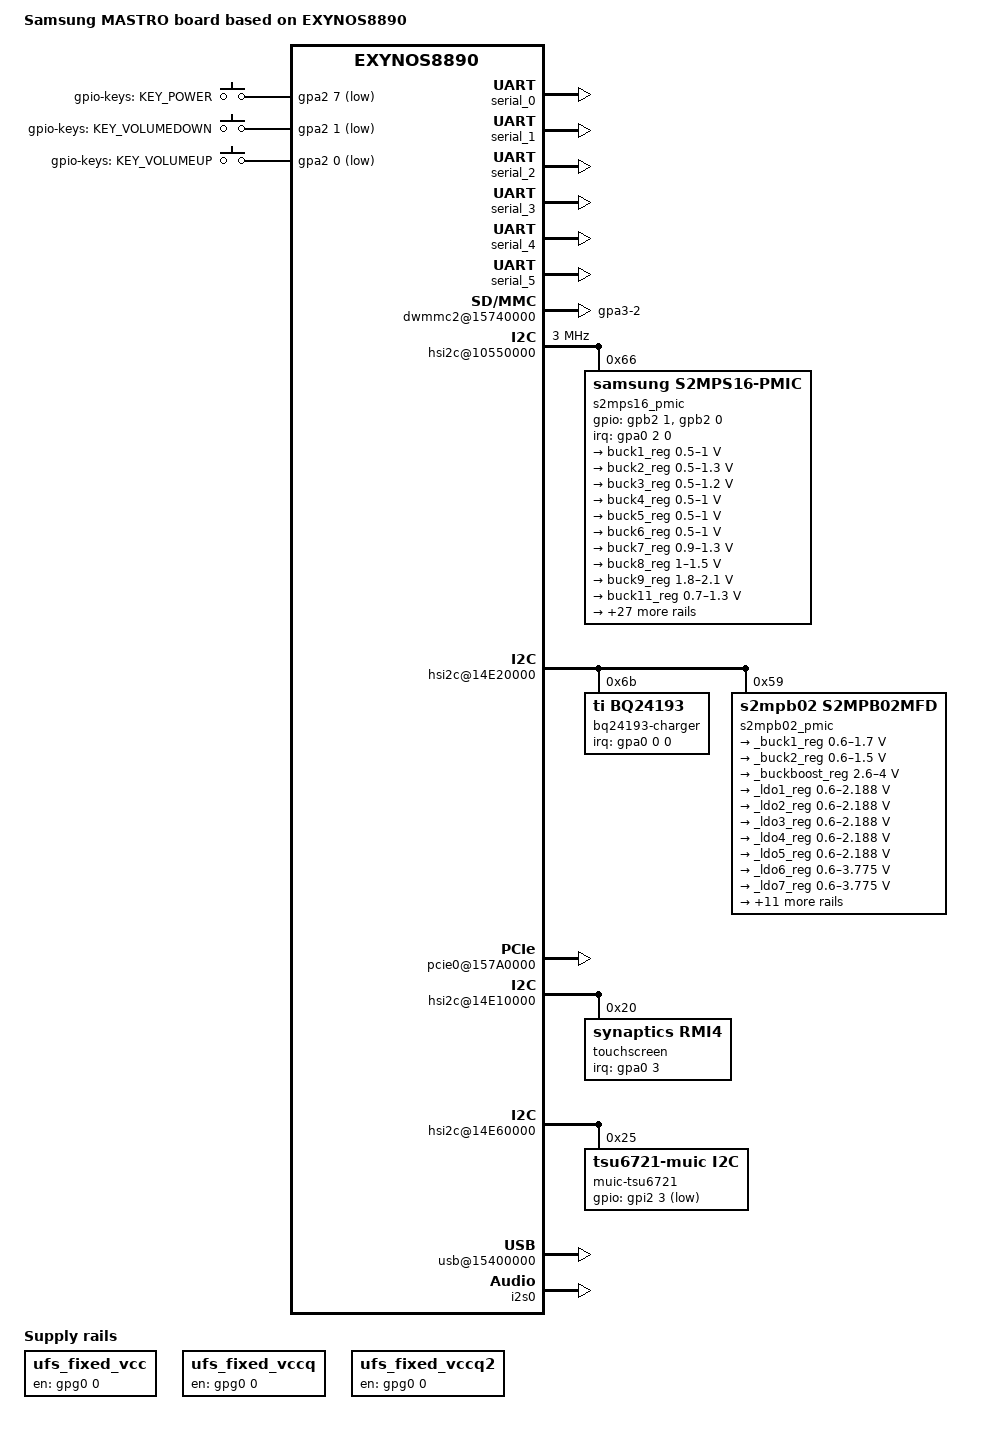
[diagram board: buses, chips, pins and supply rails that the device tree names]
/*
 * SAMSUNG EXYNOS8890 board device tree source
 *
 * Copyright (c) 2016 Samsung Electronics Co., Ltd.
 *		http://www.samsung.com
 *
 * This program is free software; you can redistribute it and/or modify
 * it under the terms of the GNU General Public License version 2 as
 * published by the Free Software Foundation.
*/

/dts-v1/;
#include "exynos8890.dtsi"
#include "exynos8890-rmem.dtsi"
#include "exynos8890-display-lcd.dtsi"
#include "exynos8890-modem-sh340ap.dtsi"

/ {
	model = "Samsung MASTRO board based on EXYNOS8890";
	compatible = "samsung,exynos8890", "samsung,MAESTRO";

	ect {
		parameter_address = <0x90000000>;
		parameter_size = <0x19000>;
	};

	memory@80000000 {
		device_type = "memory";
		reg = <0x0 0x80000000 0x80000000>;
	};

	memory@880000000 {
		device_type = "memory";
		reg = <0x00000008 0x80000000 0x80000000>;
	};

	chosen {
		bootargs = "console=ttySAC2,115200 clk_ignore_unused pmic_info=3 androidboot.hardware=samsungexynos8890 androidboot.selinux=permissive ess_setup=0x86000000 firmware_class.path=/vendor/firmware";
		linux,initrd-start = <0x82000000>;
		linux,initrd-end = <0x820FFFFF>;
	};

	fixed-rate-clocks {
		oscclk {
			compatible = "samsung,exynos8890-oscclk";
			clock-frequency = <26000000>;
		};
	};

	serial_0: uart@13630000 {
		status = "okay";
	};

	serial_1: uart@14C20000 {
		status = "okay";
	};

	serial_2: uart@14C30000 {
		status = "okay";
	};

	serial_3: uart@14C40000 {
		status = "okay";
	};

	serial_4: uart@14C50000 {
		status = "okay";
	};

	serial_5: uart@14C10000 {
		status = "okay";
	};

	ufs@0x155A0000 {
		status = "okay";
		ufs,pmd-attr-mode = "FAST";
		ufs,pmd-attr-lane = /bits/ 8 <1>;
		ufs,pmd-attr-gear = /bits/ 8 <3>;
		ufs,pmd-attr-hs-series = "HS_rate_b";
		ufs-opts-skip-connection-estab;
		ufs-opts-use-seperated-pclk;
		ufs-rx-adv-fine-gran-sup_en = <0>;
		ufs-rx-min-activate-time-cap = <3>;
		ufs-rx-hibern8-time-cap = <2>;
		ufs-tx-hibern8-time-cap = <2>;
		ufs-wait-cdr-lock = <0x6e>;

		vcc-supply = <&ufs_fixed_vcc>;
		vccq-supply = <&ufs_fixed_vccq>;
		vccq2-supply = <&ufs_fixed_vccq2>;
		vcc-fixed-regulator;
		vccq-fixed-regulator;
		vccq2-fixed-regulator;

		ufs-cap-clk-gating;
		ufs-cap-hibern8-with-clk-gating;

		phy-init =
			<0x9564 0x2e030103 PMD_ALL UNIPRO_DBG_MIB>,	// PA_DBG_OPTION_SUITE
			<0x155E 0x0 PMD_ALL UNIPRO_STD_MIB>,
			<0x00f 0xfa PMD_ALL PHY_PMA_COMN>,
			<0x010 0x82 PMD_ALL PHY_PMA_COMN>,
			<0x011 0x1e PMD_ALL PHY_PMA_COMN>,
			<0x012 0x80 PMD_ALL PHY_PMA_COMN>,
			<0x017 0x94 PMD_ALL PHY_PMA_COMN>,
			<0x034 0x31 PMD_ALL PHY_PMA_TRSV>,
			<0x035 0x40 PMD_ALL PHY_PMA_TRSV>,
			<0x038 0x3f PMD_ALL PHY_PMA_TRSV>,
			<0x049 0x00 PMD_ALL PHY_PMA_TRSV>,
			<0x04a 0x10 PMD_ALL PHY_PMA_TRSV>,
			<0x04c 0x5b PMD_ALL PHY_PMA_TRSV>,
			<0x05c 0x14 PMD_ALL PHY_PMA_TRSV>,
			<0x9540 true PMD_ALL PHY_PCS_COMN>,		// PA_DBG_OV_TM
			<0x401 0x09 PMD_ALL PHY_PCS_COMN>,
			<0x27a 0x10 PMD_ALL PHY_PCS_RXTX>,
			<0x30e 0x01 PMD_ALL PHY_PCS_RXTX>,
			<0x31f 0x04 PMD_ALL PHY_PCS_RXTX>,
			<0x32c 0x00 PMD_ALL PHY_PCS_RXTX>,
			<0x9540 false PMD_ALL PHY_PCS_COMN>,		// PA_DBG_OV_TM
			<0 0 0 0>;

		post-phy-init =
			<0x9529 0x1 PMD_ALL UNIPRO_DBG_MIB>,		// PA_DBG_MODE
			<PA_SAVECONFIGTIME 0x7d0 PMD_ALL UNIPRO_STD_MIB>,
			<0x9529 0x0 PMD_ALL UNIPRO_DBG_MIB>,		// PA_DBG_MODE
			<0 0 0 0>;

		calib-of-pwm =
			<0x9540 true PMD_ALL PHY_PCS_COMN>,		// PA_DBG_OV_TM
			<0x337 0x21 PMD_PWM PHY_PCS_RXTX>,
			<0x9540 false PMD_ALL PHY_PCS_COMN>,		// PA_DBG_OV_TM
			<0 0 0 0>;

		calib-of-hs-rate-a =
			<0x034 0x32 PMD_HS_G3_L1 PHY_PMA_TRSV>,
			<0x035 0x40 (PMD_HS_G1_L1 | PMD_HS_G2_L1) PHY_PMA_TRSV>,
			<0x035 0x42 PMD_HS_G3_L1 PHY_PMA_TRSV>,
			<0x037 0x43 PMD_HS_G3_L1 PHY_PMA_TRSV>,
			<0x41a 0x01 PMD_HS_G3_L1 PHY_PCS_COMN>,
			<0 0 0 0>;

		calib-of-hs-rate-b =
			<0x034 0x32 PMD_HS_G3_L1 PHY_PMA_TRSV>,
			<0x035 0x40 (PMD_HS_G1_L1 | PMD_HS_G2_L1) PHY_PMA_TRSV>,
			<0x035 0x42 PMD_HS_G3_L1 PHY_PMA_TRSV>,
			<0x037 0x43 PMD_HS_G3_L1 PHY_PMA_TRSV>,
			<0x41a 0x01 PMD_HS_G3_L1 PHY_PCS_COMN>,
			<0 0 0 0>;

		post-calib-of-pwm =
			<0x015 0x00 PMD_PWM PHY_PMA_COMN>,
			<0x41a 0x00 PMD_PWM PHY_PCS_COMN>,
			<0 0 0 0>;

		post-calib-of-hs-rate-a =
			<0x049 0x02 (PMD_HS_G2_L1 | PMD_HS_G3_L1) PHY_PMA_TRSV>,
			<0x04a 0x37 (PMD_HS_G2_L1 | PMD_HS_G3_L1) PHY_PMA_TRSV>,
			<0 0 0 0>;

		post-calib-of-hs-rate-b =
			<0x049 0x02 (PMD_HS_G2_L1 | PMD_HS_G3_L1) PHY_PMA_TRSV>,
			<0x04a 0x37 (PMD_HS_G2_L1 | PMD_HS_G3_L1) PHY_PMA_TRSV>,
			<0 0 0 0>;

		pma-restore =
			<0x00f 0xfa PMD_ALL PHY_PMA_COMN>,
			<0x010 0x82 PMD_ALL PHY_PMA_COMN>,
			<0x011 0x1e PMD_ALL PHY_PMA_COMN>,
			<0x012 0x80 PMD_ALL PHY_PMA_COMN>,
			<0x017 0x94 PMD_ALL PHY_PMA_COMN>,
			<0x034 0x31 (PMD_PWM |(PMD_HS_G1_L1 | PMD_HS_G2_L1)) PHY_PMA_TRSV>,
			<0x034 0x32 PMD_HS_G3_L1 PHY_PMA_TRSV>,
			<0x035 0x40 PMD_PWM PHY_PMA_TRSV>,
			<0x035 0x40 (PMD_HS_G1_L1 | PMD_HS_G2_L1) PHY_PMA_TRSV>,
			<0x035 0x42 PMD_HS_G3_L1 PHY_PMA_TRSV>,
			<0x037 0x43 PMD_HS_G3_L1 PHY_PMA_TRSV>,
			<0x038 0x3f PMD_ALL PHY_PMA_TRSV>,
			<0x049 0x00 PMD_PWM PHY_PMA_TRSV>,
			<0x04a 0x10 PMD_PWM PHY_PMA_TRSV>,
			<0x049 0x02 PMD_HS PHY_PMA_TRSV>,
			<0x04a 0x37 PMD_HS PHY_PMA_TRSV>,
			<0x04c 0x5b PMD_HS PHY_PMA_TRSV>,
			<0x05c 0x14 PMD_HS PHY_PMA_TRSV>,
			<0 0 0 0>;
	};

	ufs_fixed_vcc: fixedregulator@0 {
		       compatible = "regulator-fixed";
		       regulator-name = "ufs-vcc";
		       gpio = <&gpg0 0 0>;
		       regulator-boot-on;
		       enable-active-high;
	};

	ufs_fixed_vccq: fixedregulator@1 {
			compatible = "regulator-fixed";
			regulator-name = "ufs-vccq";
			gpio = <&gpg0 0 0>;
			regulator-boot-on;
			enable-active-high;
	};

	ufs_fixed_vccq2: fixedregulator@2 {
			 compatible = "regulator-fixed";
			 regulator-name = "ufs-vccq2";
			 gpio = <&gpg0 0 0>;
			 regulator-boot-on;
			 enable-active-high;
			 startup-delay-us = <2000>;
			 endup-delay-us = <2000>;
	};

	pinctrl@10580000 {
		dwmmc2_cd_ext_irq: dwmmc2_cd_ext_irq {
			   samsung,pins = "gpa3-2";
			   samsung,pin-function = <0xf>;
			   samsung,pin-pud = <3>;
			   samsung,pin-drv = <4>;
		};

	};

	dwmmc2@15740000 {
		status = "okay";
		num-slots = <1>;
		card-detect-gpio;
		supports-4bit;
		supports-cmd23;
		supports-erase;
		supports-highspeed;
		sd-uhs-sdr104;
		bypass-for-allpass;
		use-fine-tuning;
		card-init-hwacg-ctrl;
		samsung,voltage-int-extra = <0x7>;
		fifo-depth = <0x40>;
		qos_int_level = <255000>;
		samsung,dw-mshc-ciu-div = <3>;
		desc-size = <4>;
		card-detect-delay = <200>;
		data-timeout = <200>;
		hto-timeout = <550>;
		clock-frequency = <800000000>;
		samsung,dw-mshc-sdr-timing = <3 0 2 0>;
		samsung,dw-mshc-ddr-timing = <3 0 2 1>;

		num-ref-clks = <8>;
		ciu_clkin = <25 50 50 100 200 100 200 200>;

		/* Swapping clock drive strength */
		clk-drive-number = <4>;
		pinctrl-names = "default",
			"fast-slew-rate-1x",
			"fast-slew-rate-2x",
			"fast-slew-rate-3x",
			"fast-slew-rate-4x";
		pinctrl-0 = <&sd2_clk &sd2_cmd &sd2_bus1 &sd2_bus4 &dwmmc2_cd_ext_irq>;
		pinctrl-1 = <&sd2_clk_fast_slew_rate_1x>;
		pinctrl-2 = <&sd2_clk_fast_slew_rate_2x>;
		pinctrl-3 = <&sd2_clk_fast_slew_rate_3x>;
		pinctrl-4 = <&sd2_clk_fast_slew_rate_4x>;

		card-detect = <&gpa3 2 0xf>;
		slot@0 {
			reg = <0>;
			bus-width = <4>;
			disable-wp;
		};
	};

        pinctrl@10580000 {
                key_power: key-power {
                        samsung,pins = "gpa2-7";
                        samsung,pin-function = <0xf>;
                        samsung,pin-pud = <0>;
                        samsung,pin-drv = <0>;
                };

                key_voldown: key-voldown {
                        samsung,pins = "gpa2-1";
                        samsung,pin-function = <0xf>;
                        samsung,pin-pud = <0>;
                        samsung,pin-drv = <0>;
                };

                key_volup: key-volup {
                        samsung,pins = "gpa2-0";
                        samsung,pin-function = <0xf>;
                        samsung,pin-pud = <0>;
                        samsung,pin-drv = <0>;
                };
        };

        gpio_keys {
                compatible = "gpio-keys";
                pinctrl-names = "default";
                pinctrl-0 = <&key_power &key_voldown &key_volup>;
                button@1 {
                        label = "gpio-keys: KEY_POWER";
                        linux,code = <116>;
                        gpios = <&gpa2 7 0xf>;
                        gpio-key,wakeup = <1>;
                };
                button@2 {
                        label = "gpio-keys: KEY_VOLUMEDOWN";
                        linux,code = <114>;
                        gpios = <&gpa2 1 0xf>;
                };
                button@3 {
                        label = "gpio-keys: KEY_VOLUMEUP";
                        linux,code = <115>;
                        gpios = <&gpa2 0 0xf>;
                };
        };

	pinctrl@10580000 {
		pmic_irq: pmic-irq {
			samsung,pins = "gpa0-2";
			samsung,pin-pud = <3>;
			samsung,pin-drv = <3>;
		};

		chg_irq: chg-irq {
			samsung,pins = "gpa0-0";
			samsung,pin-function = <0>;
			samsung,pin-pud = <3>;
			samsung,pin-drv = <3>;
		};
		muic_irq: muic-irq {
			samsung,pins = "gpa1-1";
			samsung,pin-function = <0x0>;
			samsung,pin-pud = <0>;
			samsung,pin-drv = <0>;
		};
	};

	pinctrl@14CC0000 {
		/* Warm reset information from AP */
		pm_wrsti: pm-wrsti {
			samsung,pins = "gpe6-7";
			samsung,pin-con-pdn = <3>;
		};
	};

	pinctrl@136D0000 {
		g3d_dvs: g3d-dvs {
			samsung,pins = "gpb2-0";
			samsung,pin-function = <0x2>;
		};
	};

	hsi2c@10550000{
		status = "okay";
		samsung,hs-mode;
		clock-frequency = <3000000>;
		samsung,hsi2c-batcher;
		samsung,use-apm;
		samsung,apm-always-clkon;
		s2mps16_pmic@66 {
			compatible = "samsung,s2mps16-pmic";
			reg = <0x66>;
			interrupts = <2 0 0>;
			interrupt-parent = <&gpa0>;
			pinctrl-names = "default";
			ten-bit-address;
			pinctrl-0 = <&pmic_irq &pm_wrsti &g3d_dvs>;
			gpios = <&gpb2 1 0>, <&gpb2 0 0x2>;
			smpl_warn_en = <1>; /* 1 : enable , 0 : disable*/
			/* range of smpl_warn_vth */
			/* 0x00 : 2.1V, 0x20 : 2.3V, 0x40 : 2.5V, 0x60 : 2.7V 0x80 : 2.9V */
			/* 0xA0 : 3.1V, 0xC0 : 3.3V, 0xE0 : 3.5V */
			smpl_warn_vth = <0x80>;
			/* LowBat_Hys[4:3] 00(100mV), 01(200mV), 10(300mV), 11(400mV) */
			smpl_warn_hys = <0x00>;
			adc-on;
			cache_data = <1>; /* 1: enable, 0 : disable */
			g3d_en = <1>; /* 1 : enable , 0 : disable */
			dvs_en = <1>; /* 1 : enable , 0 : disable */
			ldo8_7_seq = <0x05>;
			ldo10_9_seq = <0x63>;
			/* RTC: wtsr/smpl */
			wtsr_en = <1>; /* enable */
			smpl_en = <1>; /* enable */
			wtsr_timer_val = <3>;	/* 1000ms */
			smpl_timer_val = <4>;	/* 500ms */
			check_jigon = <0>; /* do not check jigon */
			/* RTC: If it's first boot, reset rtc to 1/1/2014 12:00:00(Wed) */
			init_time,sec = <0>;
			init_time,min = <0>;
			init_time,hour = <12>;
			init_time,mday = <1>;
			init_time,mon = <0>;
			init_time,year = <115>;
			init_time,wday = <4>;

			regulators {
				buck1_reg: BUCK1 {
					regulator-name = "vdd_mif";
					regulator-min-microvolt = <500000>;
					regulator-max-microvolt = <1000000>;
					regulator-always-on;
					regulator-ramp-delay = <12000>;
					regulator-initial-mode = <2>; /* controlled by PWREN_MIF */
				};

				buck2_reg: BUCK2 {
					regulator-name = "vdd_mngs";
					regulator-min-microvolt = <500000>;
					regulator-max-microvolt = <1300000>;
					regulator-always-on;
					regulator-ramp-delay = <11000>;
					regulator-initial-mode = <1>;
				};

				buck3_reg: BUCK3 {
					regulator-name = "vdd_apollo";
					regulator-min-microvolt = <500000>;
					regulator-max-microvolt = <1200000>;
					regulator-always-on;
					regulator-ramp-delay = <11000>;
					regulator-initial-mode = <1>;
				};

				buck4_reg: BUCK4 {
					regulator-name = "vdd_int";
					regulator-min-microvolt = <500000>;
					regulator-max-microvolt = <1000000>;
					regulator-always-on;
					regulator-ramp-delay = <12000>;
					regulator-initial-mode = <2>; /* controlled by PWREN_MIF */
				};

				buck5_reg: BUCK5 {
					regulator-name = "vdd_dispcam";
					regulator-min-microvolt = <500000>;
					regulator-max-microvolt = <1000000>;
					regulator-always-on;
					regulator-ramp-delay = <11000>;
					regulator-initial-mode = <2>; /* controlled by PWREN_MIF */
				};

				buck6_reg: BUCK6 {
					regulator-name = "vdd_g3d";
					regulator-min-microvolt = <500000>;
					regulator-max-microvolt = <1000000>;
					regulator-always-on;
					regulator-ramp-delay = <12000>;
					regulator-initial-mode = <1>;
				};

				buck7_reg: BUCK7 {
					regulator-name = "vdd_mem";
					regulator-min-microvolt = <900000>;
					regulator-max-microvolt = <1300000>;
					regulator-always-on;
					regulator-ramp-delay = <12000>;
					regulator-initial-mode = <3>;
				};

				buck8_reg: BUCK8 {
					regulator-name = "vdd_lldo";
					regulator-min-microvolt = <1000000>;
					regulator-max-microvolt = <1500000>;
					regulator-always-on;
					regulator-ramp-delay = <12000>;
					regulator-initial-mode = <3>;
				};

				buck9_reg: BUCK9 {
					regulator-name = "vdd_mldo";
					regulator-min-microvolt = <1800000>;
					regulator-max-microvolt = <2100000>;
					regulator-always-on;
					regulator-ramp-delay = <12000>;
					regulator-initial-mode = <3>;
				};

				buck11_reg: BUCK11 {
					regulator-name = "vdd_extra";
					regulator-min-microvolt = <700000>;
					regulator-max-microvolt = <1300000>;
					regulator-always-on;
					regulator-ramp-delay = <12000>;
					regulator-initial-mode = <1>;
				};

				ldo1_reg: LDO1 {
					regulator-name = "vdd_ldo1";
					regulator-min-microvolt = <500000>;
					regulator-max-microvolt = <900000>;
					regulator-ramp-delay = <12000>;
					regulator-initial-mode = <3>;
					regulator-always-on;
				};

				ldo2_reg: LDO2 {
					regulator-name = "vqmmc";
					regulator-min-microvolt = <1800000>;
					regulator-max-microvolt = <2800000>;
					regulator-ramp-delay = <12000>;
					regulator-initial-mode = <1>;
					regulator-always-on;
				};

				ldo3_reg: LDO3 {
					regulator-name = "vdd_ldo3";
					regulator-min-microvolt = <1620000>;
					regulator-max-microvolt = <1980000>;
					regulator-ramp-delay = <12000>;
					regulator-initial-mode = <3>;
					regulator-always-on;
				};

				ldo4_reg: LDO4 {
					regulator-name = "vdd_ldo4";
					regulator-min-microvolt = <800000>;
					regulator-max-microvolt = <1110000>;
					regulator-ramp-delay = <12000>;
					regulator-initial-mode = <1>;
					regulator-always-on;
				};

				ldo5_reg: LDO5 {
					regulator-name = "vdd_ldo5";
					regulator-min-microvolt = <1625000>;
					regulator-max-microvolt = <1975000>;
					regulator-ramp-delay = <12000>;
					regulator-always-on;
					regulator-initial-mode = <1>;
				};

				ldo6_reg: LDO6 {
					regulator-name = "vdd_ldo6";
					regulator-min-microvolt = <2250000>;
					regulator-max-microvolt = <3300000>;
					regulator-ramp-delay = <12000>;
					regulator-always-on;
					regulator-initial-mode = <1>;
				};

				ldo7_reg: LDO7 {
					regulator-name = "vdd_ldo7";
					regulator-min-microvolt = <700000>;
					regulator-max-microvolt = <1200000>;
					regulator-ramp-delay = <12000>;
					regulator-always-on;
					regulator-initial-mode = <1>;
				};

				ldo8_reg: LDO8 {
					regulator-name = "vdd_ldo8";
					regulator-min-microvolt = <700000>;
					regulator-max-microvolt = <1000000>;
					regulator-ramp-delay = <12000>;
					regulator-always-on;
					regulator-initial-mode = <1>;
				};

				ldo9_reg: LDO9 {
					regulator-name = "vdd_ldo9";
					regulator-min-microvolt = <700000>;
					regulator-max-microvolt = <1000000>;
					regulator-ramp-delay = <12000>;
					regulator-always-on;
					regulator-initial-mode = <1>;
				};

				ldo10_reg: LDO10 {
					regulator-name = "vdd_ldo10";
					regulator-min-microvolt = <700000>;
					regulator-max-microvolt = <1200000>;
					regulator-ramp-delay = <12000>;
					regulator-always-on;
					regulator-initial-mode = <1>;
				};

				ldo11_reg: LDO11 {
					regulator-name = "vdd_ldo11";
					regulator-min-microvolt = <700000>;
					regulator-max-microvolt = <1000000>;
					regulator-ramp-delay = <12000>;
					regulator-always-on;
					regulator-initial-mode = <1>;
				};

				ldo12_reg: LDO12 {
					regulator-name = "vdd_ldo12";
					regulator-min-microvolt = <1000000>;
					regulator-max-microvolt = <1300000>;
					regulator-ramp-delay = <12000>;
					regulator-always-on;
					regulator-initial-mode = <1>;
				};

				ldo13_reg: LDO13 {
					regulator-name = "vdd_ldo13";
					regulator-min-microvolt = <1000000>;
					regulator-max-microvolt = <1300000>;
					regulator-ramp-delay = <12000>;
					regulator-always-on;
					regulator-initial-mode = <1>;
				};

				ldo25_reg: LDO25 {
					regulator-name = "vdd_ldo25";
					regulator-min-microvolt = <700000>;
					regulator-max-microvolt = <1000000>;
					regulator-ramp-delay = <12000>;
					regulator-boot-on;
					regulator-always-on;
					regulator-initial-mode = <1>;
				};

				ldo26_reg: LDO26 {
					regulator-name = "vdd_ldo26";
					regulator-min-microvolt = <1000000>;
					regulator-max-microvolt = <1200000>;
					regulator-ramp-delay = <12000>;
					regulator-boot-on;
					regulator-always-on;
					regulator-initial-mode = <1>;
				};

				ldo27_reg: LDO27 {
					regulator-name = "vdd_ldo27";
					regulator-min-microvolt = <700000>;
					regulator-max-microvolt = <1300000>;
					regulator-ramp-delay = <12000>;
					regulator-boot-on;
					regulator-always-on;
					regulator-initial-mode = <1>;
				};

				ldo28_reg: LDO28 {
					regulator-name = "vdd_ldo28";
					regulator-min-microvolt = <1800000>;
					regulator-max-microvolt = <3375000>;
					regulator-ramp-delay = <12000>;
					regulator-always-on;
					regulator-initial-mode = <1>;
				};

				ldo29_reg: LDO29 {
					regulator-name = "vdd_ldo29";
					regulator-min-microvolt = <1800000>;
					regulator-max-microvolt = <3375000>;
					regulator-ramp-delay = <12000>;
					regulator-always-on;
					regulator-initial-mode = <1>;
				};

				ldo30_reg: LDO30 {
					regulator-name = "vdd_ldo30";
					regulator-min-microvolt = <1800000>;
					regulator-max-microvolt = <3375000>;
					regulator-ramp-delay = <12000>;
					regulator-always-on;
					regulator-initial-mode = <3>;
				};

				ldo31_reg: LDO31 {
					regulator-name = "vdd_ldo31";
					regulator-min-microvolt = <700000>;
					regulator-max-microvolt = <1300000>;
					regulator-ramp-delay = <12000>;
					regulator-always-on;
					regulator-initial-mode = <1>;
				};

				ldo32_reg: LDO32 {
					regulator-name = "vdd_ldo32";
					regulator-min-microvolt = <1500000>;
					regulator-max-microvolt = <2100000>;
					regulator-ramp-delay = <12000>;
					regulator-initial-mode = <0>;
				};

				ldo33_reg: LDO33 {
					regulator-name = "vdd_ldo33";
					regulator-min-microvolt = <1800000>;
					regulator-max-microvolt = <3375000>;
					regulator-ramp-delay = <12000>;
					regulator-initial-mode = <0>;
				};

				ldo34_reg: LDO34 {
					regulator-name = "vdd_ldo34";
					regulator-min-microvolt = <1800000>;
					regulator-max-microvolt = <3375000>;
					regulator-ramp-delay = <12000>;
					regulator-always-on;
					regulator-initial-mode = <1>;
				};

				ldo35_reg: LDO35 {
					regulator-name = "vdd_ldo35";
					regulator-min-microvolt = <1800000>;
					regulator-max-microvolt = <3375000>;
					regulator-ramp-delay = <12000>;
					regulator-always-on;
					regulator-initial-mode = <1>;
				};

				ldo36_reg: LDO36 {
					regulator-name = "vdd_ldo36";
					regulator-min-microvolt = <1800000>;
					regulator-max-microvolt = <3375000>;
					regulator-ramp-delay = <12000>;
					regulator-always-on;
					regulator-initial-mode = <1>;
				};

				ldo37_reg: LDO37 {
					regulator-name = "vdd_ldo37";
					regulator-min-microvolt = <1500000>;
					regulator-max-microvolt = <2100000>;
					regulator-ramp-delay = <12000>;
					regulator-always-on;
					regulator-initial-mode = <1>;
				};

				ldo38_reg: LDO38 {
					regulator-name = "vdd_ldo38";
					regulator-min-microvolt = <700000>;
					regulator-max-microvolt = <1300000>;
					regulator-ramp-delay = <12000>;
					regulator-always-on;
					regulator-initial-mode = <1>;
				};
			};
		};
	};

	pinctrl@10580000 {
		sub_pmic_irq: sub-pmic-irq {
			samsung,pins = "gpa3-7";
			samsung,pin-function = <0>;
			samsung,pin-pud = <0>;
			samsung,pin-drv = <0>;
		};
	};

	hsi2c@14E20000 {
		status = "okay";
		bq24193-charger@6b {
			compatible = "ti,bq24193";
			reg = <0x6b>;
			interrupts = <0 0 0>;
			interrupt-parent = <&gpa0>;
			pinctrl-names = "default";
			pinctrl-3 = <&chg_irq>;
			dev_name = "bq24193";
		};
		s2mpb02_pmic@59 {
			compatible = "s2mpb02,s2mpb02mfd";
			reg = <0x59>;

			s2mpb02,wakeup;
			pinctrl-names = "default";
			pinctrl-0 = <&sub_pmic_irq>;

			regulators {
				_buck1_reg: s2mpb02-buck1 {
					regulator-min-microvolt = <600000>;
					regulator-max-microvolt = <1700000>;
					regulator-always-on;
					regulator-boot-on;
				};

				_buck2_reg: s2mpb02-buck2 {
					regulator-min-microvolt = <600000>;
					regulator-max-microvolt = <1500000>;
					regulator-always-on;
					regulator-boot-on;
				};

				_buckboost_reg: s2mpb02-bb {
					regulator-min-microvolt = <2600000>;
					regulator-max-microvolt = <4000000>;
					regulator-always-on;
					regulator-boot-on;
				};

				_ldo1_reg: s2mpb02-ldo1 {
					regulator-min-microvolt = <600000>;
					regulator-max-microvolt = <2187500>;
					regulator-always-on;
					regulator-boot-on;
				};

				_ldo2_reg: s2mpb02-ldo2 {
					regulator-min-microvolt = <600000>;
					regulator-max-microvolt = <2187500>;
					regulator-always-on;
					regulator-boot-on;
				};

				_ldo3_reg: s2mpb02-ldo3 {
					regulator-name = "VDD12_M_CAMCORE";
					regulator-min-microvolt = <600000>;
					regulator-max-microvolt = <2187500>;
				};

				_ldo4_reg: s2mpb02-ldo4 {
					regulator-name = "VDD12_S_CAMCORE";
					regulator-min-microvolt = <600000>;
					regulator-max-microvolt = <2187500>;
				};

				_ldo5_reg: s2mpb02-ldo5 {
					regulator-min-microvolt = <600000>;
					regulator-max-microvolt = <2187500>;
					regulator-always-on;
					regulator-boot-on;
				};

				_ldo6_reg: s2mpb02-ldo6 {
					regulator-name = "VDD18_PANEL";
					regulator-min-microvolt = <600000>;
					regulator-max-microvolt = <3775000>;
				};

				_ldo7_reg: s2mpb02-ldo7 {
					regulator-min-microvolt = <600000>;
					regulator-max-microvolt = <3775000>;
					regulator-always-on;
					regulator-boot-on;
				};

				_ldo8_reg: s2mpb02-ldo8 {
					regulator-min-microvolt = <1800000>;
					regulator-max-microvolt = <1800000>;
					regulator-always-on;
					regulator-boot-on;
				};

				_ldo9_reg: s2mpb02-ldo9 {
					regulator-name = "VDD18_VTCAMIO";
					regulator-min-microvolt = <1800000>;
					regulator-max-microvolt = <1800000>;
				};

				_ldo10_reg: s2mpb02-ldo10 {
					regulator-min-microvolt = <600000>;
					regulator-max-microvolt = <3775000>;
					regulator-always-on;
					regulator-boot-on;
				};

				_ldo11_reg: s2mpb02-ldo11 {
					regulator-name = "VDDA28_M_CAMSEN";
					regulator-min-microvolt = <2800000>;
					regulator-max-microvolt = <2800000>;
				};

				_ldo12_reg: s2mpb02-ldo12 {
					regulator-min-microvolt = <1800000>;
					regulator-max-microvolt = <3375000>;
					regulator-always-on;
					regulator-boot-on;
				};

				_ldo13_reg: s2mpb02-ldo13 {
					regulator-name = "VDDA28_S_CAMSEN";
					regulator-min-microvolt = <2800000>;
					regulator-max-microvolt = <2800000>;
				};

				_ldo14_reg: s2mpb02-ldo14 {
					regulator-name = "VDDA30_VTCAMSEN";
					regulator-min-microvolt = <2800000>;
					regulator-max-microvolt = <2800000>;
				};

				_ldo15_reg: s2mpb02-ldo15 {
					regulator-name = "VDD28_M_CAMAF";
					regulator-min-microvolt = <600000>;
					regulator-max-microvolt = <3775000>;
				};

				_ldo16_reg: s2mpb02-ldo16 {
					regulator-name = "VDD28_S_CAMAF";
					regulator-min-microvolt = <600000>;
					regulator-max-microvolt = <3775000>;
				};

				_ldo17_reg: s2mpb02-ldo17 {
					regulator-min-microvolt = <600000>;
					regulator-max-microvolt = <3775000>;
					regulator-always-on;
					regulator-boot-on;
				};

				_ldo18_reg: s2mpb02-ldo18 {
					regulator-min-microvolt = <600000>;
					regulator-max-microvolt = <3775000>;
					regulator-always-on;
					regulator-boot-on;
				};
			};

			torch {
				torch1-gpio = "gpc1-1";
				flash1-gpio = "gpc0-3";

				status = "okay";

				leds1 {
					ledname = "leds-sec1";
					id = <0>;
					brightness = <0xC>;
					timeout = <0x3>;
				};

				leds2 {
					ledname = "torch-sec1";
					id = <1>;
					brightness = <0xC>;
					timeout = <0xF>;
				};
			};
		};
	};

        pcie0@157A0000 {
                pcie,wlan-gpio = <&gpj1 3 0x1 /* WLAN_EN */ >;
                pcie,bt-gpio = <&gpj1 7 0x1 /* BT_EN */ >;
                status = "okay";
        };

        pinctrl@10580000 {
                attn_irq: attn-irq {
                        samsung,pins = "gpa0-3";
                        samsung,pin-function = <0xf>;
                        samsung,pin-pud = <0>;
                        samsung,pin-drv = <0>;
                };
                attn_input: attn-input {
                        samsung,pins = "gpa0-3";
                        samsung,pin-function = <0>;
                        samsung,pin-pud = <1>;
                };
        };

        hsi2c@14E10000 {
                status = "okay";
                touchscreen@20 {
                        compatible = "synaptics,rmi4";
                        reg = <0x20>;
                        pinctrl-names = "on_state", "off_state";
                        pinctrl-0 = <&attn_irq>;
                        pinctrl-1 = <&attn_input>;
                        synaptics,irq_gpio = <&gpa0 3 0>;
                        synaptics,irq_type = <8200>;
                        synaptics,max_coords = <1440 2560>;     /* x y */
                        synaptics,num_lines = <29 16>;          /* rx tx */

                        synaptics,regulator_dvdd = "vdd_ldo32";
                        synaptics,regulator_avdd = "vdd_ldo33";
                        synaptics,project_name = "jungfrau","espresso8890";
                };
        };

	ion {
		compatible = "samsung,exynos5430-ion";
	};

	decon_f: decon_f@0x13960000 {
		/* EINT for TE */
		gpios = <&gpe2 6 0xf>, <&gpe3 1 0xf>;
		te_eint {
			/* NWEINT_GPE2_PEND(GPE2_6[6]), NWEINT_GPE2_MASK(GPE2_6[6]) */
			reg = <0x0 0x14CC0A14 0x4>, <0x0 0x14CC0914 0x4>;
		};
	};

	decon_s: decon_s@0x13E10000 {
		/* EINT for TE */
		gpios = <&gpe3 1 0xf>;
	};

	dsim_0: dsim@0x13900000 {
		lcd_info = <&s6e3fa0>;
		/* lcd reset, power */
		gpios = <&gpe2 5 0x1>, <&gpe3 2 0x1>;
	};

	dsim_1: dsim@0x13910000 {
		lcd_info = <&s6e3ha2k>;
		/* lcd reset, power */
		gpios = <&gpe3 0 0x1>;
	};

	hsi2c@14E60000 {
		status = "okay";
		muic-tsu6721@25 {
			compatible = "tsu6721-muic,i2c";
			reg = <0x25>;
			pinctrl-names = "default";
			pinctrl-0 = <&muic_irq>;
			muic,muic_int = <&gpa1 1 0>;
			gpios = <&gpi2 3 0x1>;
		};
	};

	usb@15400000 {
		status = "okay";

		dwc3 {
			maximum-speed = "super-speed";
			dr_mode = "otg";
			suspend_clk_freq = <66000000>;
		};
	};

	phy@15500000 {
		usb_additional_tuning;
	};

	usb_notifier {
		compatible = "samsung,usb-notifier";
		udc = <&udc>;
	};

	i2s0: i2s@11440000 {
		samsung,supports-esa-dma;
		samsung,supports-sec-compr;
		status = "okay";
	};

	audio_codec_dummy: dummy-codec {
		compatible = "samsung,dummy-codec";
		status = "okay";
	};
	audio_cp_dummy: cp_dummy {
		compatible = "samsung,cp_dummy";
		status = "okay";
	};

	i2s_dummy: dummy-i2s {
		compatible = "samsung,dummy-i2s";
		status = "okay";
	};
	audio_bt_dummy: bt_dummy {
		compatible = "samsung,bt_dummy";
		status = "okay";
	};
	sound {
		compatible = "samsung,universal-dummy";
		samsung,audio-cpu = <
			&i2s0                   
			&i2s0                  
			&audio_cp_dummy	 /* voice call */
			&eax
			&eax
			&eax
			&eax
			&i2s0
			&i2s_dummy	/* Offload Visualizer */
			&audio_bt_dummy	/* BT */
			>;
		samsung,audio-codec = <
			&audio_codec_dummy
			&audio_codec_dummy
			&audio_codec_dummy
			&audio_codec_dummy
			&audio_codec_dummy
			&audio_codec_dummy
			&audio_codec_dummy
			&audio_codec_dummy
			&audio_codec_dummy	/* offload visualizer */
			&audio_codec_dummy		/* BT */
			>;
		status = "okay";
	};

	/* modem_interface */
	mif_pdata {
		reg = <0x0 0x20C7800 0x800>;
//		pinctrl-names = "default";
//		pinctrl-0 = <&gpio_nfc>;
		mif,ap_clk_table = <
			/* khz */
			1898000
			1794000
			1690000
			1586000
			1482000
			1378000
			1274000
			1170000
			1066000
			962000
			858000
			754000
			650000
			546000
			442000
			>;

		mif,mif_clk_table = <
			/* khz L0-L9 */
			1794000
			1716000
			1539200
			1352000
			1144000
			1014000
			845000
			676000
			546000
			420875
			>;

		mif,int_clk_table = <
			/* khz */
			690000
			680000
			670000
			660000
			650000
			640000
			630000
			620000
			610000
			600000
			468000
			400000
			336000
			255000
			>;
	};
};
